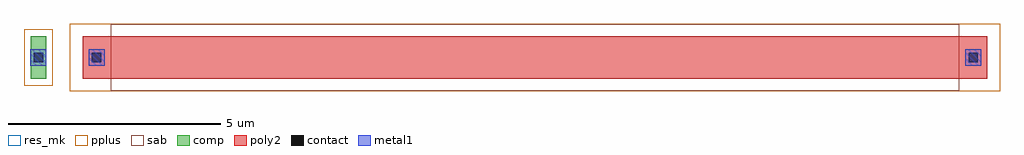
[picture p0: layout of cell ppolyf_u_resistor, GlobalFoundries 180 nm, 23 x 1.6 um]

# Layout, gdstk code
import gdstk
lib = gdstk.Library(unit=1e-6, precision=5e-09)
def R(c, l, rs):  # rectangles x0, y0, x1, y1
    for r in rs: c.add(gdstk.rectangle(r[:2], r[2:], *l))
comp = (22, 0)
poly2 = (30, 0)
pplus = (31, 0)
contact = (33, 0)
metal1 = (34, 0)
sab = (49, 0)
res_mk = (110, 5)

ppolyf_u_resistor = lib.new_cell('ppolyf_u_resistor')
R(ppolyf_u_resistor, comp, [(-1.88,0,-1.52,1)])
R(ppolyf_u_resistor, poly2, [(-0.66,0,20.66,1)])
R(ppolyf_u_resistor, pplus, [(-0.96,-0.3,20.96,1.3), (-2.04,-0.16,-1.36,1.16)])
R(ppolyf_u_resistor, contact, [(-1.81,0.39,-1.59,0.61), (-0.44,0.39,-0.22,0.61), (20.22,0.39,20.44,0.61)])
R(ppolyf_u_resistor, metal1, [(-1.89,0.31,-1.51,0.69), (-0.52,0.31,-0.14,0.69), (20.14,0.31,20.52,0.69)])
R(ppolyf_u_resistor, sab, [(0,-0.28,20,1.28)])
R(ppolyf_u_resistor, res_mk, [(0,0,20,1)])

lib.write_gds('ppolyf_u_resistor.gds')
